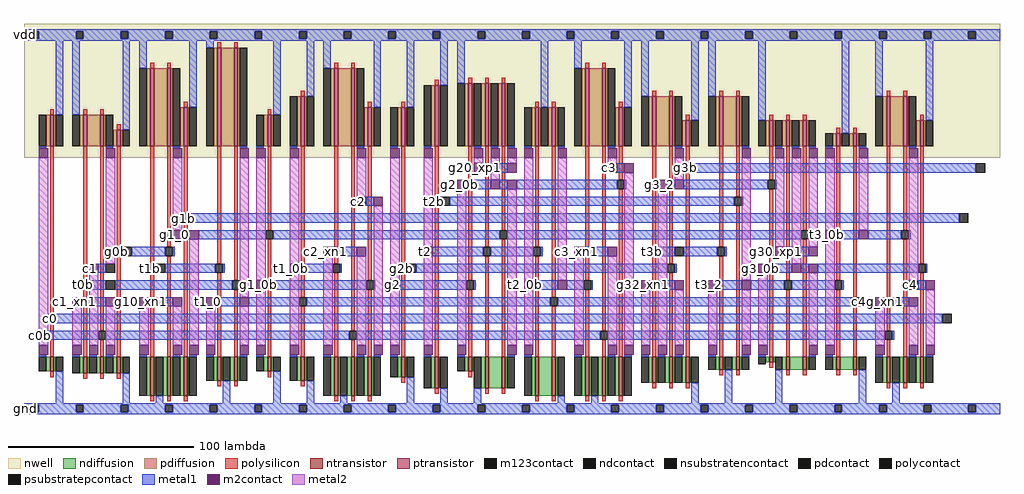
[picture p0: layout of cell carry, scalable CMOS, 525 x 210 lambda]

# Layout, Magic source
magic
tech scmos
<< nwell >>
rect 0 138 525 210
<< ntransistor >>
rect 14 23 16 31
rect 32 22 34 31
rect 41 22 43 31
rect 50 22 52 31
rect 68 10 70 31
rect 77 10 79 31
rect 86 10 88 31
rect 104 18 106 31
rect 113 18 115 31
rect 131 23 133 31
rect 149 18 151 31
rect 167 10 169 31
rect 176 10 178 31
rect 185 10 187 31
rect 203 20 205 31
rect 221 14 223 31
rect 239 23 241 31
rect 248 14 250 31
rect 257 14 259 31
rect 275 10 277 31
rect 284 10 286 31
rect 302 10 304 31
rect 311 10 313 31
rect 320 10 322 31
rect 338 17 340 31
rect 347 17 349 31
rect 356 17 358 31
rect 374 24 376 31
rect 383 24 385 31
rect 401 28 403 31
rect 410 24 412 31
rect 419 24 421 31
rect 437 24 439 31
rect 446 24 448 31
rect 464 17 466 31
rect 473 17 475 31
rect 482 17 484 31
<< ptransistor >>
rect 14 144 16 161
rect 32 144 34 161
rect 41 144 43 161
rect 50 144 52 153
rect 68 144 70 186
rect 77 144 79 186
rect 86 144 88 165
rect 104 144 106 197
rect 113 144 115 197
rect 131 144 133 161
rect 149 144 151 171
rect 167 144 169 186
rect 176 144 178 186
rect 185 144 187 165
rect 203 144 205 165
rect 221 144 223 177
rect 239 144 241 178
rect 248 144 250 178
rect 257 144 259 178
rect 275 144 277 165
rect 284 144 286 165
rect 302 144 304 186
rect 311 144 313 186
rect 320 144 322 165
rect 338 144 340 171
rect 347 144 349 171
rect 356 144 358 158
rect 374 144 376 171
rect 383 144 385 171
rect 401 144 403 158
rect 410 144 412 158
rect 419 144 421 158
rect 437 144 439 151
rect 446 144 448 151
rect 464 144 466 171
rect 473 144 475 171
rect 482 144 484 158
<< ndiffusion >>
rect 12 23 14 31
rect 16 23 17 31
rect 30 22 32 31
rect 34 22 35 31
rect 39 22 41 31
rect 43 22 44 31
rect 48 22 50 31
rect 52 22 53 31
rect 66 10 68 31
rect 70 10 71 31
rect 75 10 77 31
rect 79 10 80 31
rect 84 10 86 31
rect 88 10 89 31
rect 102 18 104 31
rect 106 18 107 31
rect 111 18 113 31
rect 115 18 116 31
rect 129 23 131 31
rect 133 23 134 31
rect 147 18 149 31
rect 151 18 152 31
rect 165 10 167 31
rect 169 10 170 31
rect 174 10 176 31
rect 178 10 179 31
rect 183 10 185 31
rect 187 10 188 31
rect 201 20 203 31
rect 205 20 206 31
rect 219 14 221 31
rect 223 14 224 31
rect 237 23 239 31
rect 241 23 242 31
rect 246 14 248 31
rect 250 14 257 31
rect 259 14 260 31
rect 273 10 275 31
rect 277 10 284 31
rect 286 10 287 31
rect 300 10 302 31
rect 304 10 305 31
rect 309 10 311 31
rect 313 10 314 31
rect 318 10 320 31
rect 322 10 323 31
rect 336 17 338 31
rect 340 17 341 31
rect 345 17 347 31
rect 349 17 350 31
rect 354 17 356 31
rect 358 17 359 31
rect 372 24 374 31
rect 376 24 377 31
rect 381 24 383 31
rect 385 24 386 31
rect 399 28 401 31
rect 403 28 404 31
rect 408 24 410 31
rect 412 24 419 31
rect 421 24 422 31
rect 435 24 437 31
rect 439 24 446 31
rect 448 24 449 31
rect 462 17 464 31
rect 466 17 467 31
rect 471 17 473 31
rect 475 17 476 31
rect 480 17 482 31
rect 484 17 485 31
<< pdiffusion >>
rect 12 144 14 161
rect 16 144 17 161
rect 30 144 32 161
rect 34 144 41 161
rect 43 144 44 161
rect 48 144 50 153
rect 52 144 53 153
rect 66 144 68 186
rect 70 144 77 186
rect 79 144 80 186
rect 84 144 86 165
rect 88 144 89 165
rect 102 144 104 197
rect 106 144 113 197
rect 115 144 116 197
rect 129 144 131 161
rect 133 144 134 161
rect 147 144 149 171
rect 151 144 152 171
rect 165 144 167 186
rect 169 144 176 186
rect 178 144 179 186
rect 183 144 185 165
rect 187 144 188 165
rect 201 144 203 165
rect 205 144 206 165
rect 219 144 221 177
rect 223 144 224 177
rect 237 144 239 178
rect 241 144 242 178
rect 246 144 248 178
rect 250 144 251 178
rect 255 144 257 178
rect 259 144 260 178
rect 273 144 275 165
rect 277 144 278 165
rect 282 144 284 165
rect 286 144 287 165
rect 300 144 302 186
rect 304 144 311 186
rect 313 144 314 186
rect 318 144 320 165
rect 322 144 323 165
rect 336 144 338 171
rect 340 144 347 171
rect 349 144 350 171
rect 354 144 356 158
rect 358 144 359 158
rect 372 144 374 171
rect 376 144 383 171
rect 385 144 386 171
rect 399 144 401 158
rect 403 144 404 158
rect 408 144 410 158
rect 412 144 413 158
rect 417 144 419 158
rect 421 144 422 158
rect 435 144 437 151
rect 439 144 440 151
rect 444 144 446 151
rect 448 144 449 151
rect 462 144 464 171
rect 466 144 473 171
rect 475 144 476 171
rect 480 144 482 158
rect 484 144 485 158
<< ndcontact >>
rect 8 23 12 31
rect 17 23 21 31
rect 26 22 30 31
rect 35 22 39 31
rect 44 22 48 31
rect 53 22 57 31
rect 62 10 66 31
rect 71 10 75 31
rect 80 10 84 31
rect 89 10 93 31
rect 98 18 102 31
rect 107 18 111 31
rect 116 18 120 31
rect 125 23 129 31
rect 134 23 138 31
rect 143 18 147 31
rect 152 18 156 31
rect 161 10 165 31
rect 170 10 174 31
rect 179 10 183 31
rect 188 10 192 31
rect 197 20 201 31
rect 206 20 210 31
rect 215 14 219 31
rect 224 14 228 31
rect 233 23 237 31
rect 242 14 246 31
rect 260 14 264 31
rect 269 10 273 31
rect 287 10 291 31
rect 296 10 300 31
rect 305 10 309 31
rect 314 10 318 31
rect 323 10 327 31
rect 332 17 336 31
rect 341 17 345 31
rect 350 17 354 31
rect 359 17 363 31
rect 368 24 372 31
rect 377 24 381 31
rect 386 24 390 31
rect 395 27 399 31
rect 404 24 408 31
rect 422 24 426 31
rect 431 24 435 31
rect 449 24 453 31
rect 458 17 462 31
rect 467 17 471 31
rect 476 17 480 31
rect 485 17 489 31
<< pdcontact >>
rect 8 144 12 161
rect 17 144 21 161
rect 26 144 30 161
rect 44 144 48 161
rect 53 144 57 153
rect 62 144 66 186
rect 80 144 84 186
rect 89 144 93 165
rect 98 144 102 197
rect 116 144 120 197
rect 125 144 129 161
rect 134 144 138 161
rect 143 144 147 171
rect 152 144 156 171
rect 161 144 165 186
rect 179 144 183 186
rect 188 144 192 165
rect 197 144 201 165
rect 206 144 210 165
rect 215 144 219 177
rect 224 144 228 177
rect 233 144 237 178
rect 242 144 246 178
rect 251 144 255 178
rect 260 144 264 178
rect 269 144 273 165
rect 278 144 282 165
rect 287 144 291 165
rect 296 144 300 186
rect 314 144 318 186
rect 323 144 327 165
rect 332 144 336 171
rect 350 144 354 171
rect 359 144 363 158
rect 368 144 372 171
rect 386 144 390 171
rect 395 144 399 158
rect 404 144 408 158
rect 413 144 417 158
rect 422 144 426 158
rect 431 144 435 151
rect 440 144 444 151
rect 449 144 453 151
rect 458 144 462 171
rect 476 144 480 171
rect 485 144 489 158
<< psubstratepcontact >>
rect 4 1 8 5
rect 28 1 32 5
rect 52 1 56 5
rect 76 1 80 5
rect 100 1 104 5
rect 124 1 128 5
rect 148 1 152 5
rect 172 1 176 5
rect 196 1 200 5
rect 220 1 224 5
rect 244 1 248 5
rect 268 1 272 5
rect 292 1 296 5
rect 316 1 320 5
rect 340 1 344 5
rect 364 1 368 5
rect 388 1 392 5
rect 412 1 416 5
rect 436 1 440 5
rect 460 1 464 5
rect 484 1 488 5
rect 508 1 512 5
<< nsubstratencontact >>
rect 4 202 8 206
rect 28 202 32 206
rect 52 202 56 206
rect 76 202 80 206
rect 100 202 104 206
rect 124 202 128 206
rect 148 202 152 206
rect 172 202 176 206
rect 196 202 200 206
rect 220 202 224 206
rect 244 202 248 206
rect 268 202 272 206
rect 292 202 296 206
rect 316 202 320 206
rect 340 202 344 206
rect 364 202 368 206
rect 388 202 392 206
rect 412 202 416 206
rect 436 202 440 206
rect 460 202 464 206
rect 484 202 488 206
rect 508 202 512 206
<< polysilicon >>
rect 104 197 106 200
rect 113 197 115 200
rect 68 186 70 189
rect 77 186 79 189
rect 14 161 16 164
rect 32 161 34 164
rect 41 161 43 164
rect 50 153 52 156
rect 86 165 88 168
rect 167 186 169 189
rect 176 186 178 189
rect 302 186 304 189
rect 311 186 313 189
rect 149 171 151 174
rect 131 161 133 164
rect 221 177 223 180
rect 239 178 241 181
rect 248 178 250 181
rect 257 178 259 181
rect 185 165 187 168
rect 203 165 205 168
rect 275 165 277 168
rect 284 165 286 168
rect 338 171 340 174
rect 347 171 349 174
rect 374 171 376 174
rect 383 171 385 174
rect 464 171 466 174
rect 473 171 475 174
rect 320 165 322 168
rect 356 158 358 161
rect 401 158 403 161
rect 410 158 412 161
rect 419 158 421 161
rect 437 151 439 154
rect 446 151 448 154
rect 482 158 484 161
rect 14 54 16 144
rect 32 72 34 144
rect 14 31 16 49
rect 32 31 34 67
rect 41 45 43 144
rect 50 90 52 144
rect 41 31 43 40
rect 50 31 52 85
rect 68 81 70 144
rect 77 90 79 144
rect 86 108 88 144
rect 68 31 70 76
rect 77 31 79 85
rect 86 31 88 103
rect 104 81 106 144
rect 104 31 106 76
rect 113 72 115 144
rect 131 99 133 144
rect 113 31 115 67
rect 131 31 133 94
rect 149 63 151 144
rect 167 81 169 144
rect 149 31 151 58
rect 167 31 169 76
rect 176 45 178 144
rect 185 72 187 144
rect 203 81 205 144
rect 221 117 223 144
rect 176 31 178 40
rect 185 31 187 67
rect 203 31 205 76
rect 221 31 223 112
rect 239 72 241 144
rect 248 90 250 144
rect 257 99 259 144
rect 239 31 241 67
rect 248 31 250 85
rect 257 31 259 94
rect 275 90 277 144
rect 275 31 277 85
rect 284 63 286 144
rect 302 72 304 144
rect 284 31 286 58
rect 302 31 304 67
rect 311 45 313 144
rect 320 126 322 144
rect 311 31 313 40
rect 320 31 322 121
rect 338 90 340 144
rect 338 31 340 85
rect 347 81 349 144
rect 356 135 358 144
rect 347 31 349 76
rect 356 31 358 130
rect 374 90 376 144
rect 383 117 385 144
rect 401 126 403 144
rect 374 31 376 85
rect 383 31 385 112
rect 401 31 403 121
rect 410 72 412 144
rect 419 99 421 144
rect 410 31 412 67
rect 419 31 421 94
rect 437 72 439 144
rect 437 31 439 67
rect 446 63 448 144
rect 446 31 448 58
rect 464 45 466 144
rect 473 99 475 144
rect 464 31 466 40
rect 473 31 475 94
rect 482 81 484 144
rect 482 31 484 76
rect 14 20 16 23
rect 32 19 34 22
rect 41 19 43 22
rect 50 19 52 22
rect 131 20 133 23
rect 104 15 106 18
rect 113 15 115 18
rect 149 15 151 18
rect 203 17 205 20
rect 239 20 241 23
rect 221 11 223 14
rect 248 11 250 14
rect 257 11 259 14
rect 401 25 403 28
rect 374 21 376 24
rect 383 21 385 24
rect 410 21 412 24
rect 419 21 421 24
rect 437 21 439 24
rect 446 21 448 24
rect 338 14 340 17
rect 347 14 349 17
rect 356 14 358 17
rect 464 14 466 17
rect 473 14 475 17
rect 482 14 484 17
rect 68 7 70 10
rect 77 7 79 10
rect 86 7 88 10
rect 167 7 169 10
rect 176 7 178 10
rect 185 7 187 10
rect 275 7 277 10
rect 284 7 286 10
rect 302 7 304 10
rect 311 7 313 10
rect 320 7 322 10
<< polycontact >>
rect 31 67 35 72
rect 13 49 17 54
rect 49 85 53 90
rect 40 40 44 45
rect 85 103 89 108
rect 76 85 80 90
rect 67 76 71 81
rect 103 76 107 81
rect 130 94 134 99
rect 112 67 116 72
rect 166 76 170 81
rect 148 58 152 63
rect 220 112 224 117
rect 202 76 206 81
rect 184 67 188 72
rect 175 40 179 45
rect 256 94 260 99
rect 247 85 251 90
rect 238 67 242 72
rect 274 85 278 90
rect 301 67 305 72
rect 283 58 287 63
rect 319 121 323 126
rect 310 40 314 45
rect 337 85 341 90
rect 355 130 359 135
rect 346 76 350 81
rect 400 121 404 126
rect 382 112 386 117
rect 373 85 377 90
rect 418 94 422 99
rect 409 67 413 72
rect 436 67 440 72
rect 445 58 449 63
rect 472 94 476 99
rect 463 40 467 45
rect 481 76 485 81
<< metal1 >>
rect 0 206 525 207
rect 0 202 4 206
rect 8 202 28 206
rect 32 202 52 206
rect 56 202 76 206
rect 80 202 100 206
rect 104 202 124 206
rect 128 202 148 206
rect 152 202 172 206
rect 176 202 196 206
rect 200 202 220 206
rect 224 202 244 206
rect 248 202 268 206
rect 272 202 292 206
rect 296 202 316 206
rect 320 202 340 206
rect 344 202 364 206
rect 368 202 388 206
rect 392 202 412 206
rect 416 202 436 206
rect 440 202 460 206
rect 464 202 484 206
rect 488 202 508 206
rect 512 202 525 206
rect 0 201 525 202
rect 17 161 21 201
rect 26 161 30 201
rect 53 153 57 201
rect 62 186 66 201
rect 89 165 93 201
rect 98 197 102 201
rect 134 161 138 201
rect 152 171 156 201
rect 8 143 12 144
rect 44 143 48 144
rect 80 143 84 144
rect 116 143 120 144
rect 161 186 165 201
rect 188 165 192 201
rect 206 165 210 201
rect 224 177 228 201
rect 233 178 237 201
rect 125 143 129 144
rect 143 143 147 144
rect 179 143 183 144
rect 197 143 201 144
rect 215 143 219 144
rect 242 143 246 144
rect 251 143 255 144
rect 278 165 282 201
rect 296 186 300 201
rect 260 143 264 144
rect 323 165 327 201
rect 332 171 336 201
rect 359 158 363 201
rect 368 171 372 201
rect 395 158 399 201
rect 269 143 273 144
rect 287 143 291 144
rect 314 143 318 144
rect 350 143 354 144
rect 386 143 390 144
rect 404 143 408 144
rect 413 143 417 144
rect 440 151 444 201
rect 458 171 462 201
rect 422 143 426 144
rect 485 158 489 201
rect 431 143 435 144
rect 449 143 453 144
rect 476 143 480 144
rect 247 130 260 135
rect 319 130 323 135
rect 359 130 512 135
rect 238 121 251 126
rect 256 121 260 126
rect 265 121 319 126
rect 323 121 324 126
rect 346 121 350 126
rect 355 121 400 126
rect 404 121 405 126
rect 184 112 188 117
rect 229 112 382 117
rect 386 112 387 117
rect 89 103 503 108
rect 85 94 89 99
rect 94 94 130 99
rect 134 94 256 99
rect 260 94 418 99
rect 422 94 423 99
rect 436 94 449 99
rect 454 94 472 99
rect 476 94 477 99
rect 58 85 76 90
rect 80 85 81 90
rect 166 85 179 90
rect 220 85 247 90
rect 251 85 274 90
rect 278 85 279 90
rect 301 85 314 90
rect 341 85 350 90
rect 355 85 373 90
rect 377 85 378 90
rect 409 85 422 90
rect 40 76 44 81
rect 76 76 103 81
rect 107 76 108 81
rect 148 76 166 81
rect 170 76 171 81
rect 211 76 346 81
rect 350 76 351 81
rect 400 76 413 81
rect 418 76 422 81
rect 427 76 481 81
rect 485 76 486 81
rect 35 67 44 72
rect 49 67 112 72
rect 116 67 117 72
rect 130 67 184 72
rect 188 67 189 72
rect 202 67 238 72
rect 242 67 243 72
rect 274 67 287 72
rect 292 67 301 72
rect 305 67 306 72
rect 337 67 350 72
rect 373 67 386 72
rect 391 67 409 72
rect 413 67 436 72
rect 440 67 441 72
rect 481 67 485 72
rect 31 58 44 63
rect 67 58 80 63
rect 103 58 116 63
rect 121 58 148 63
rect 152 58 283 63
rect 287 58 445 63
rect 449 58 450 63
rect 463 58 476 63
rect 17 49 494 54
rect 13 40 40 45
rect 44 40 175 45
rect 179 40 310 45
rect 314 40 463 45
rect 467 40 468 45
rect 8 31 12 32
rect 26 31 30 32
rect 17 6 21 23
rect 35 31 39 32
rect 44 31 48 32
rect 62 31 66 32
rect 80 31 84 32
rect 53 6 57 22
rect 89 31 93 32
rect 98 31 102 32
rect 116 31 120 32
rect 125 31 129 32
rect 143 31 147 32
rect 161 31 165 32
rect 179 31 183 32
rect 71 6 75 10
rect 107 6 111 18
rect 134 6 138 23
rect 152 6 156 18
rect 188 31 192 32
rect 197 31 201 32
rect 215 31 219 32
rect 233 31 237 32
rect 260 31 264 32
rect 170 6 174 10
rect 206 6 210 20
rect 224 6 228 14
rect 269 31 273 32
rect 296 31 300 32
rect 314 31 318 32
rect 242 6 246 14
rect 323 31 327 32
rect 332 31 336 32
rect 341 31 345 32
rect 350 31 354 32
rect 368 31 372 32
rect 386 31 390 32
rect 395 31 399 32
rect 422 31 426 32
rect 431 31 435 32
rect 458 31 462 32
rect 476 31 480 32
rect 287 6 291 10
rect 305 6 309 10
rect 359 6 363 17
rect 377 6 381 24
rect 404 6 408 24
rect 449 6 453 24
rect 485 31 489 32
rect 467 6 471 17
rect 0 5 525 6
rect 0 1 4 5
rect 8 1 28 5
rect 32 1 52 5
rect 56 1 76 5
rect 80 1 100 5
rect 104 1 124 5
rect 128 1 148 5
rect 152 1 172 5
rect 176 1 196 5
rect 200 1 220 5
rect 224 1 244 5
rect 248 1 268 5
rect 272 1 292 5
rect 296 1 316 5
rect 320 1 340 5
rect 344 1 364 5
rect 368 1 388 5
rect 392 1 412 5
rect 416 1 436 5
rect 440 1 460 5
rect 464 1 484 5
rect 488 1 508 5
rect 512 1 525 5
rect 0 0 525 1
<< m2contact >>
rect 8 138 13 143
rect 44 138 49 143
rect 80 138 85 143
rect 116 138 121 143
rect 125 138 130 143
rect 143 138 148 143
rect 179 138 184 143
rect 197 138 202 143
rect 215 138 220 143
rect 242 138 247 143
rect 251 138 256 143
rect 260 138 265 143
rect 269 138 274 143
rect 287 138 292 143
rect 314 138 319 143
rect 350 138 355 143
rect 386 138 391 143
rect 404 138 409 143
rect 413 138 418 143
rect 422 138 427 143
rect 431 138 436 143
rect 449 138 454 143
rect 476 138 481 143
rect 242 130 247 135
rect 260 130 265 135
rect 323 130 328 135
rect 233 121 238 126
rect 251 121 256 126
rect 260 121 265 126
rect 341 121 346 126
rect 350 121 355 126
rect 188 112 193 117
rect 80 94 85 99
rect 89 94 94 99
rect 431 94 436 99
rect 449 94 454 99
rect 161 85 166 90
rect 179 85 184 90
rect 215 85 220 90
rect 296 85 301 90
rect 314 85 319 90
rect 404 85 409 90
rect 422 85 427 90
rect 35 76 40 81
rect 143 76 148 81
rect 395 76 400 81
rect 413 76 418 81
rect 422 76 427 81
rect 125 67 130 72
rect 197 67 202 72
rect 269 67 274 72
rect 287 67 292 72
rect 332 67 337 72
rect 350 67 355 72
rect 368 67 373 72
rect 386 67 391 72
rect 485 67 490 72
rect 26 58 31 63
rect 44 58 49 63
rect 62 58 67 63
rect 80 58 85 63
rect 98 58 103 63
rect 116 58 121 63
rect 458 58 463 63
rect 476 58 481 63
rect 8 40 13 45
rect 8 32 13 37
rect 26 32 31 37
rect 35 32 40 37
rect 44 32 49 37
rect 62 32 67 37
rect 80 32 85 37
rect 89 32 94 37
rect 98 32 103 37
rect 116 32 121 37
rect 125 32 130 37
rect 143 32 148 37
rect 161 32 166 37
rect 179 32 184 37
rect 188 32 193 37
rect 197 32 202 37
rect 215 32 220 37
rect 233 32 238 37
rect 260 32 265 37
rect 269 32 274 37
rect 296 32 301 37
rect 314 32 319 37
rect 323 32 328 37
rect 332 32 337 37
rect 341 32 346 37
rect 350 32 355 37
rect 368 32 373 37
rect 386 32 391 37
rect 395 32 400 37
rect 422 32 427 37
rect 431 32 436 37
rect 458 32 463 37
rect 476 32 481 37
rect 485 32 490 37
<< metal2 >>
rect 8 45 13 138
rect 44 81 49 138
rect 80 99 85 138
rect 8 37 13 40
rect 26 37 31 58
rect 35 37 40 76
rect 44 37 49 58
rect 62 37 67 58
rect 80 37 85 58
rect 89 37 94 94
rect 116 63 121 138
rect 98 37 103 58
rect 116 37 121 58
rect 125 72 130 138
rect 125 37 130 67
rect 143 81 148 138
rect 179 117 184 138
rect 143 37 148 76
rect 161 37 166 85
rect 179 37 184 85
rect 188 37 193 112
rect 197 72 202 138
rect 215 90 220 138
rect 242 135 247 138
rect 251 126 256 138
rect 260 135 265 138
rect 197 37 202 67
rect 215 37 220 85
rect 233 37 238 121
rect 260 37 265 121
rect 269 72 274 138
rect 287 72 292 138
rect 314 135 319 138
rect 269 37 274 67
rect 296 37 301 85
rect 314 37 319 85
rect 323 37 328 130
rect 350 126 355 138
rect 332 37 337 67
rect 341 37 346 121
rect 386 72 391 138
rect 404 90 409 138
rect 413 81 418 138
rect 422 90 427 138
rect 431 99 436 138
rect 449 99 454 138
rect 350 37 355 67
rect 368 37 373 67
rect 386 37 391 67
rect 395 37 400 76
rect 422 37 427 76
rect 431 37 436 94
rect 476 72 481 138
rect 458 37 463 58
rect 476 37 481 58
rect 485 37 490 67
<< m123contact >>
rect 53 85 58 90
rect 44 76 49 81
rect 71 76 76 81
rect 44 67 49 72
rect 179 112 184 117
rect 224 112 229 117
rect 206 76 211 81
rect 314 130 319 135
rect 350 85 355 90
rect 512 130 517 135
rect 503 103 508 108
rect 476 67 481 72
rect 494 49 499 54
<< labels >>
rlabel metal1 13 49 15 54 0 c0
port 1 nsew
rlabel m2contact 35 76 37 81 0 c1
port 2 nsew
rlabel metal1 179 112 181 117 0 c2
port 3 nsew
rlabel metal1 314 130 316 135 0 c3
port 4 nsew
rlabel metal1 476 67 478 72 0 c4
port 5 nsew
rlabel metal1 49 85 51 90 0 g0b
port 6 nsew
rlabel metal1 85 103 87 108 0 g1b
port 7 nsew
rlabel metal1 202 76 204 81 0 g2b
port 8 nsew
rlabel metal1 355 130 357 135 0 g3b
port 9 nsew
rlabel metal1 31 67 33 72 0 t0b
port 10 nsew
rlabel metal1 67 76 69 81 0 t1b
port 11 nsew
rlabel metal1 220 112 222 117 0 t2b
port 12 nsew
rlabel metal1 337 85 339 90 0 t3b
port 13 nsew
rlabel m2contact 8 40 10 45 0 c0b
rlabel m2contact 26 58 28 63 0 c1_xn1
rlabel m2contact 161 85 163 90 0 c2_xn1
rlabel m2contact 296 85 298 90 0 c3_xn1
rlabel m2contact 458 58 460 63 0 c4g_xn1
rlabel m2contact 62 58 64 63 0 g10_xn1
rlabel m2contact 80 94 82 99 0 g1_0
rlabel m2contact 125 67 127 72 0 g1_0b
rlabel m2contact 197 67 199 72 0 g2
rlabel m2contact 242 130 244 135 0 g20_xp1
rlabel m2contact 233 121 235 126 0 g2_0b
rlabel m2contact 404 85 406 90 0 g30_xp1
rlabel m2contact 332 67 334 72 0 g32_xn1
rlabel m2contact 395 76 397 81 0 g3_0b
rlabel m2contact 341 121 343 126 0 g3_2
rlabel m2contact 98 58 100 63 0 t1_0
rlabel m2contact 143 76 145 81 0 t1_0b
rlabel m2contact 215 85 217 90 0 t2
rlabel m2contact 269 67 271 72 0 t2_0b
rlabel m2contact 431 94 433 99 0 t3_0b
rlabel m2contact 368 67 370 72 0 t3_2
rlabel metal1 0 201 2 207 0 vdd
port 14 nsew
rlabel metal1 0 0 2 6 0 gnd
port 15 nsew
<< end >>
